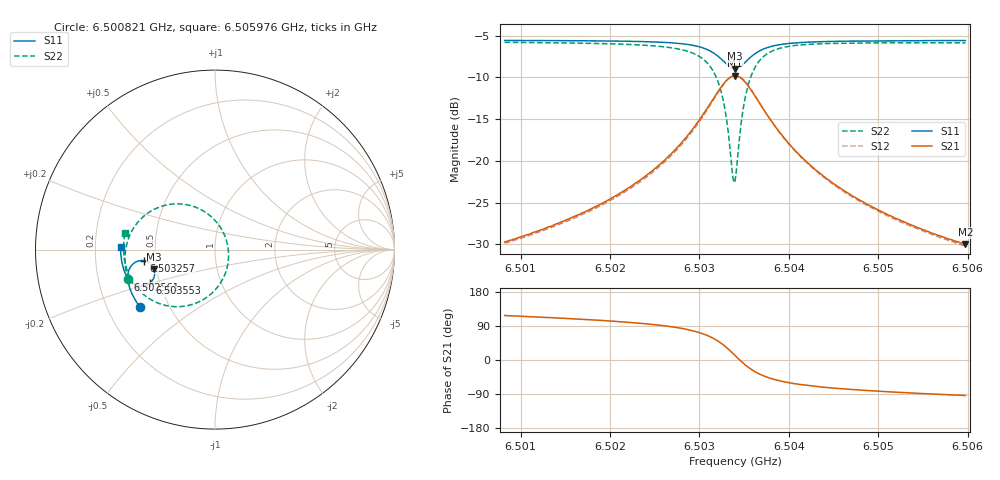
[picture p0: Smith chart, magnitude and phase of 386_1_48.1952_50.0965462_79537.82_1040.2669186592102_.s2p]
#  HZ  S  RI  R  50.00
! Rohde & Schwarz Vector Network Analyzer
! Rohde-Schwarz,ZNB20-2Port,1311601062101988,3.16
! Created: UTC 3/20/2024, 11:53:18 AM
! freq[Hz]  re:S11  im:S11  re:S21  im:S21  re:S12  im:S12  re:S22  im:S22
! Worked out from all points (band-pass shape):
!   401 points, 6.500821 GHz to 6.505976 GHz, reference 50 ohm
!   highest |S21| = -9.80 dB at 6.503398 GHz (marker M1); lowest = -30.0 dB at 6.505976 GHz (marker M2)
!   |S21| within 3 dB of the highest: 6.503141 GHz to 6.503656 GHz (515.2 kHz wide, 0.00792 % of centre)
!   lowest |S11| = -9.0 dB at 6.503398 GHz (marker M3), VSWR 2.11, Z = 24.2 - j6.07 ohm
!   |S11| at or under -10 dB: nowhere
!   |S22| runs from -22.6 to -5.8 dB; largest |S21 - S12| = 0.011
!   S11 on the Smith chart (normalised r, x): 6.500821 GHz: 0.34, -0.30; 6.502561 GHz: 0.33, -0.15; 6.503257 GHz: 0.43, -0.06; 6.503553 GHz: 0.44, -0.20; 6.505976 GHz: 0.31, +0.01
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6.5008209e9  -0.4202 -0.3171  -0.0151 0.029  -0.0134 0.0292  -0.4859 -0.166
6.5016843e9  -0.4583 -0.2545  -0.0146 0.0464  -0.0122 0.046  -0.5012 -0.0763
6.5021483e9  -0.4752 -0.2141  -0.0118 0.0648  -0.00905 0.0637  -0.4996 -0.0123
6.5025478e9  -0.4852 -0.1711  -0.00323 0.0943  0.000426 0.092  -0.4813 0.0647
6.5025607e9  -0.4855 -0.1695  -0.00271 0.0955  0.000877 0.0934  -0.4801 0.0677
6.5028055e9  -0.4849 -0.1343  0.0152 0.1286  0.0192 0.1248  -0.4421 0.137
6.5029859e9  -0.4737 -0.1011  0.0496 0.1644  0.0528 0.1591  -0.3749 0.203
6.5031535e9  -0.4395 -0.0679  0.1263 0.1977  0.1274 0.1914  -0.2341 0.254
6.5032566e9  -0.3972 -0.061  0.2108 0.1893  0.2111 0.1841  -0.0873 0.2272
6.5033081e9  -0.3718 -0.0693  0.2587 0.1619  0.2595 0.1573  -0.00757 0.1707
6.5033726e9  -0.3454 -0.0953  0.3062 0.0992  0.3084 0.0944  0.064 0.0504
6.5033983e9  -0.3391 -0.1096  0.3163 0.0674  0.3193 0.0618  0.0751 -0.00856
6.5034112e9  -0.3371 -0.1173  0.3191 0.051  0.3222 0.0448  0.0758 -0.0389
6.5034885e9  -0.3429 -0.1615  0.3027 -0.0424  0.3045 -0.0521  0.0195 -0.202
6.503553e9  -0.3637 -0.187  0.2605 -0.0959  0.2594 -0.1069  -0.0752 -0.2839
6.5036561e9  -0.4026 -0.2021  0.1873 -0.1318  0.182 -0.1411  -0.2228 -0.3178
6.5038236e9  -0.4483 -0.1923  0.1069 -0.1291  0.1001 -0.134  -0.3674 -0.2723
6.504004e9  -0.4753 -0.171  0.063 -0.1096  0.057 -0.1118  -0.4385 -0.2085
6.5042618e9  -0.496 -0.141  0.0336 -0.0858  0.0289 -0.0863  -0.4813 -0.1374
6.5046613e9  -0.5121 -0.1001  0.0143 -0.0626  0.0111 -0.0622  -0.504 -0.0608
6.5051252e9  -0.5211 -0.0575  0.005 -0.047  0.00279 -0.0463  -0.5097 0.00293
6.5059758e9  -0.5258 0.014  -0.00211 -0.0316  -0.00336 -0.0307  -0.5016 0.0915
